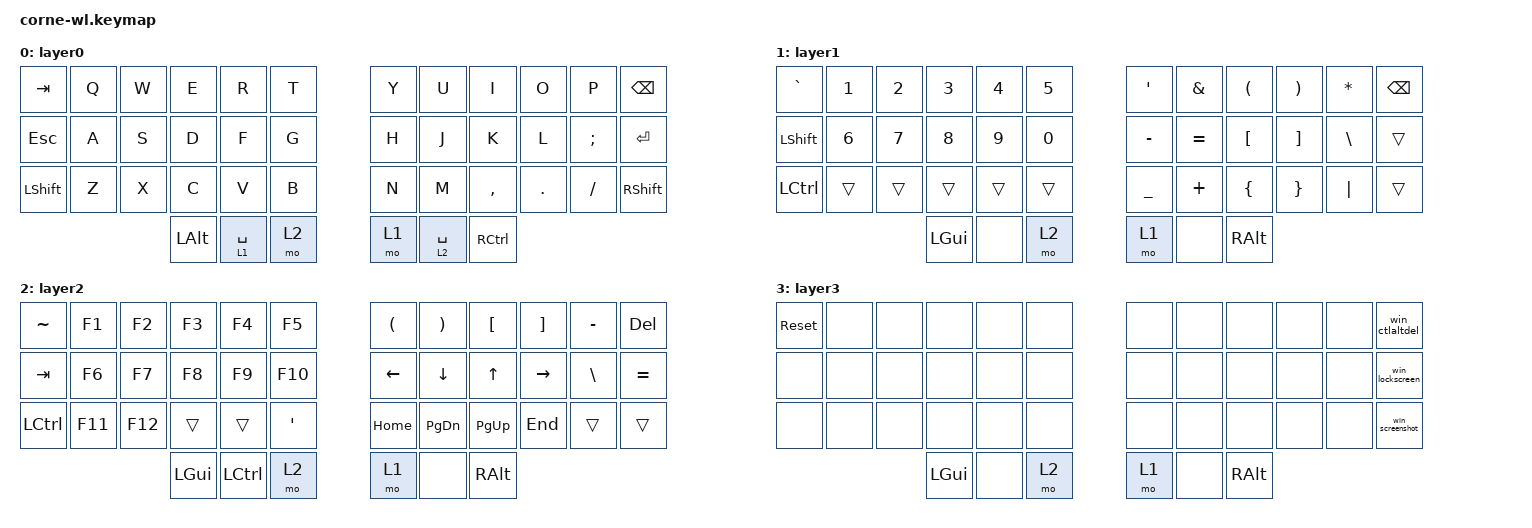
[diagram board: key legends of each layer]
/*
 * Copyright (c) 2020 The ZMK Contributors
 *
 * SPDX-License-Identifier: MIT
 */

#include <behaviors.dtsi>
#include <dt-bindings/zmk/keys.h>
#include <dt-bindings/zmk/bt.h>
#include <dt-bindings/zmk/ext_power.h>

/ {
  combos {
    compatible = "zmk,combos";
    combo_layer3 {
      timeout-ms = <200>;
      key-positions = <38 39>;
      bindings = <&mo 3>;
    };
  };
  macros {
    win_ctlaltdel: win_ctlaltdel {
      compatible = "zmk,behavior-macro";
      #binding-cells = <0>;
      bindings
          = <&macro_press &kp CONTROL>
          , <&macro_press &kp ALT>
          , <&macro_tap &kp DELETE>
          , <&macro_release &kp ALT>
          , <&macro_release &kp CONTROL>
          ;
    };
    win_lockscreen: win_lockscreen {
      compatible = "zmk,behavior-macro";
      #binding-cells = <0>;
      bindings
          = <&macro_press &kp LEFT_GUI>
          , <&macro_tap &kp L>
          , <&macro_release &kp LEFT_GUI>
          ;
    };
    win_screenshot: win_screenshot {
      compatible = "zmk,behavior-macro";
      #binding-cells = <0>;
      bindings
          = <&macro_press &kp LEFT_GUI>
          , <&macro_press &kp LSHIFT>
          , <&macro_tap &kp S>
          , <&macro_release &kp LEFT_GUI>
          , <&macro_release &kp LSHIFT>
          ;
    };
  };
  keymap {
    compatible = "zmk,keymap";
layer0 {
        bindings = <
        &kp TAB    &kp Q &kp W &kp E &kp R &kp T    &kp Y &kp U &kp I     &kp O   &kp P         &kp BSPC
        &kp ESCAPE &kp A &kp S &kp D &kp F &kp G    &kp H &kp J &kp K     &kp L   &kp SEMICOLON &kp ENTER
        &kp LSHIFT &kp Z &kp X &kp C &kp V &kp B    &kp N &kp M &kp COMMA &kp DOT &kp SLASH     &kp RSHIFT
                   &kp LEFT_ALT &lt 1 SPACE &mo 2          &mo 1 &lt 2 SPACE &kp RIGHT_CONTROL
        >;
      };layer1 {
        bindings = <
        &kp GRAVE        &kp N1 &kp N2 &kp N3 &kp N4 &kp N5    &kp SQT   &kp AMPS  &kp LPAR &kp RPAR &kp ASTRK &kp BSPC
        &kp LSHIFT       &kp N6 &kp N7 &kp N8 &kp N9 &kp N0    &kp MINUS &kp EQUAL &kp LBKT &kp RBKT &kp BSLH  &trans
        &kp LEFT_CONTROL &trans &trans &trans &trans &trans    &kp UNDER &kp PLUS  &kp LBRC &kp RBRC &kp PIPE  &trans
                   &kp LEFT_GUI &none &mo 2                        &mo 1 &none &kp RIGHT_ALT
        >;
      };layer2 {
        bindings = <
        &kp TILDE        &kp F1  &kp F2  &kp F3 &kp F4 &kp F5     &kp LPAR &kp RPAR &kp LBKT &kp RBKT  &kp MINUS     &kp DELETE
        &kp TAB          &kp F6  &kp F7  &kp F8 &kp F9 &kp F10    &kp LEFT &kp DOWN &kp UP   &kp RIGHT &kp BACKSLASH &kp EQUAL
        &kp LEFT_CONTROL &kp F11 &kp F12 &trans &trans &kp SQT    &kp HOME &kp PAGE_DOWN &kp PAGE_UP &kp END &trans &trans
                  &kp LEFT_GUI &kp LEFT_CONTROL &mo 2                  &mo 1 &none &kp RIGHT_ALT
        >;
      };layer3 {
        bindings = <
        &sys_reset &none &none &none &none &none    &none &none &none &none &none &win_ctlaltdel
        &none      &none &none &none &none &none    &none &none &none &none &none &win_lockscreen
        &none      &none &none &none &none &none    &none &none &none &none &none &win_screenshot
                &kp LEFT_GUI &none &mo 2                 &mo 1 &none &kp RIGHT_ALT
        >;
      };
  };
};

